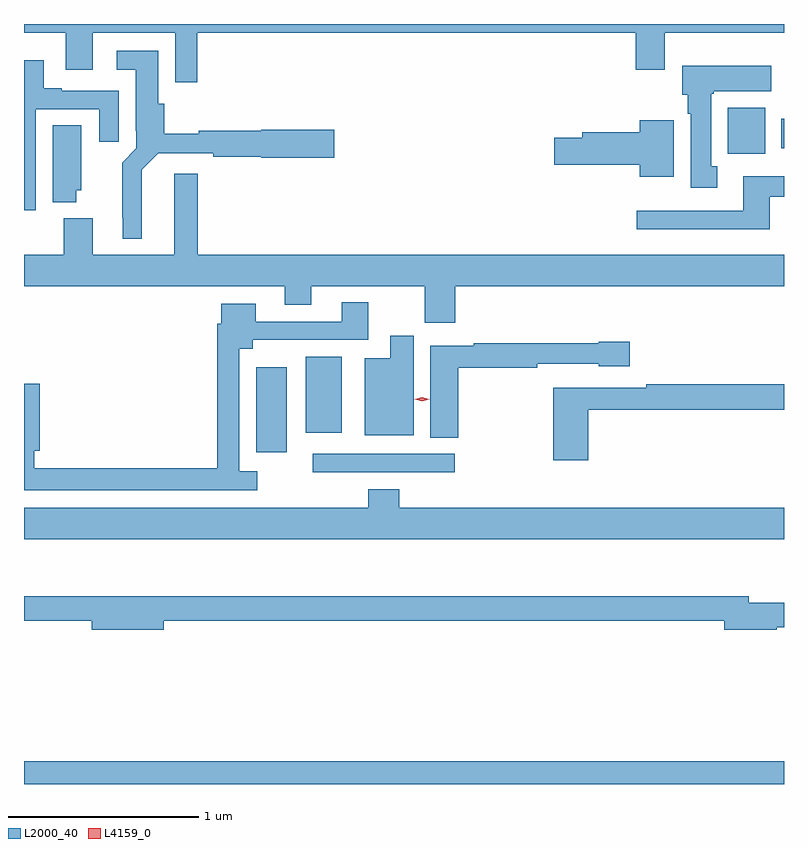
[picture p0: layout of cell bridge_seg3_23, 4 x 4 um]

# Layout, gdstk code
import gdstk
lib = gdstk.Library(unit=1e-6, precision=1e-09)
def R(c, l, rs):  # rectangles x0, y0, x1, y1
    for r in rs: c.add(gdstk.rectangle(r[:2], r[2:], *l))
def P(c, l, *ps):  # polygons
    for p in ps: c.add(gdstk.Polygon(p, *l))
L2000_40 = (2000, 40)
L4159_0 = (4159, 0)

bridge_seg3_23 = lib.new_cell('bridge_seg3_23')
R(bridge_seg3_23, L2000_40, [(723.984,735.591,727.984,735.712), (725.505,737.232,726.25,737.328), (725.207,737.337,725.368,737.785), (725.468,737.441,725.656,737.839), (727.688,738.908,727.885,739.15), (727.97,738.936,727.984,739.092)])
P(bridge_seg3_23, L2000_40, [(724.895,739.544),(727.205,739.544),(727.205,739.35),(727.357,739.35),(727.357,739.544),(727.984,739.544),(727.984,739.591),(723.984,739.591),(723.984,739.544),(724.205,739.544),(724.205,739.35),(724.345,739.35),(724.345,739.544),(724.779,739.544),(724.779,739.284),(724.895,739.284)],
  [(724.603,738.824),(724.69,738.912),(724.981,738.912),(724.981,738.892),(725.232,738.892),(725.232,738.887),(725.617,738.887),(725.617,739.034),(725.232,739.034),(725.232,739.028),(724.904,739.028),(724.904,739.013),(724.721,739.013),(724.721,739.17),(724.69,739.17),(724.69,739.45),(724.473,739.45),(724.473,739.349),(724.571,739.349),(724.571,739.03),(724.575,739.03),(724.575,738.936),(724.501,738.862),(724.501,738.571),(724.505,738.571),(724.505,738.461),(724.603,738.461)],
  [(724.045,739.143),(724.379,739.143),(724.379,738.972),(724.483,738.972),(724.483,739.239),(724.183,739.239),(724.183,739.252),(724.087,739.252),(724.087,739.399),(723.984,739.399),(723.984,738.612),(724.045,738.612)],
  [(727.633,738.842),(727.6,738.842),(727.6,739.225),(727.614,739.225),(727.614,739.238),(727.918,739.238),(727.918,739.372),(727.448,739.372),(727.448,739.218),(727.478,739.218),(727.478,739.118),(727.493,739.118),(727.493,738.729),(727.633,738.729)],
  [(727.405,739.084),(727.226,739.084),(727.226,739.022),(726.923,739.022),(726.923,738.992),(726.774,738.992),(726.774,738.85),(727.226,738.85),(727.226,738.788),(727.405,738.788)],
  [(724.258,738.717),(724.285,738.717),(724.285,739.058),(724.136,739.058),(724.136,738.653),(724.258,738.653)],
  [(727.909,738.681),(727.984,738.681),(727.984,738.79),(727.769,738.79),(727.769,738.609),(727.209,738.609),(727.209,738.512),(727.909,738.512)],
  [(724.775,738.802),(724.775,738.376),(724.345,738.376),(724.345,738.568),(724.193,738.568),(724.193,738.376),(723.984,738.376),(723.984,738.212),(725.357,738.212),(725.357,738.113),(725.497,738.113),(725.497,738.212),(726.094,738.212),(726.094,738.018),(726.254,738.018),(726.254,738.212),(727.984,738.212),(727.984,738.376),(724.898,738.376),(724.898,738.802)],
  [(725.212,737.236),(725.118,737.236),(725.118,737.882),(725.188,737.882),(725.188,737.928),(725.797,737.928),(725.797,738.127),(725.657,738.127),(725.657,738.024),(725.203,738.024),(725.203,738.118),(725.021,738.118),(725.021,738.014),(725.002,738.014),(725.002,737.252),(724.039,737.252),(724.039,737.345),(724.067,737.345),(724.067,737.698),(723.984,737.698),(723.984,737.136),(725.212,737.136)],
  [(726.034,737.95),(725.912,737.95),(725.912,737.833),(725.777,737.833),(725.777,737.426),(726.034,737.426)],
  [(726.269,737.782),(726.686,737.782),(726.686,737.802),(727.008,737.802),(727.008,737.789),(727.171,737.789),(727.171,737.919),(727.008,737.919),(727.008,737.911),(726.352,737.911),(726.352,737.898),(726.122,737.898),(726.122,737.413),(726.269,737.413)],
  [(726.953,737.56),(727.984,737.56),(727.984,737.696),(727.258,737.696),(727.258,737.676),(726.77,737.676),(726.77,737.295),(726.953,737.295)],
  [(727.984,737.044),(725.96,737.044),(725.96,737.143),(725.795,737.143),(725.795,737.044),(723.984,737.044),(723.984,736.88),(727.984,736.88)],
  [(724.72,736.45),(727.67,736.45),(727.67,736.403),(727.946,736.403),(727.946,736.415),(727.984,736.415),(727.984,736.545),(727.798,736.545),(727.798,736.579),(723.984,736.579),(723.984,736.45),(724.34,736.45),(724.34,736.403),(724.72,736.403)])
P(bridge_seg3_23, L4159_0, [(726.079,737.606),(726.041,737.616),(726.041,737.616),(726.041,737.616),(726.079,737.626),(726.117,737.616),(726.118,737.616),(726.117,737.616)])

lib.write_gds('bridge_seg3_23.gds')
